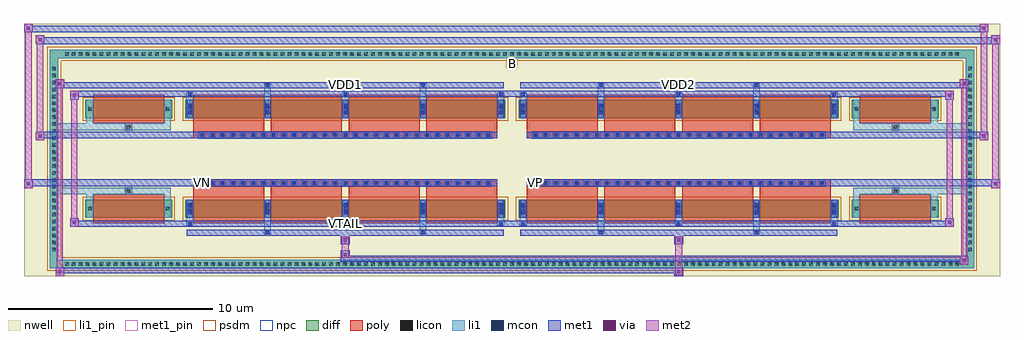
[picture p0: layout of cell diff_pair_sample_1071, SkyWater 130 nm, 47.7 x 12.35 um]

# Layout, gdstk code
import gdstk
lib = gdstk.Library(unit=1e-6, precision=5e-09)
def R(c, l, rs):  # rectangles x0, y0, x1, y1
    for r in rs: c.add(gdstk.rectangle(r[:2], r[2:], *l))
def A(c, l, x, y, w, h, nx, ny, dx, dy):  # array of equal rectangles
    R(c, l, [(x+i*dx, y+j*dy, x+i*dx+w, y+j*dy+h) for i in range(nx) for j in range(ny)])
def P(c, l, *ps):  # polygons
    for p in ps: c.add(gdstk.Polygon(p, *l))
nwell = (64, 20)
diff = (65, 20)
poly = (66, 20)
licon = (66, 44)
li1_pin = (67, 16)
li1 = (67, 20)
mcon = (67, 44)
met1_pin = (68, 16)
met1 = (68, 20)
via = (68, 44)
met2 = (69, 20)
psdm = (94, 20)
npc = (95, 20)

diff_pair_sample_1071 = lib.new_cell('diff_pair_sample_1071')
R(diff_pair_sample_1071, nwell, [(-23.85,-5.74,23.85,6.61), (-21.17,-3.93,-0.01,-0.805), (0.01,-3.93,21.17,-0.805), (-21.17,0.805,-0.01,3.93), (0.01,0.805,21.17,3.93)])
A(diff_pair_sample_1071, diff, -21.965, -5.34, 0.41, 0.41, 129, 2, 0.34, 10.27)
A(diff_pair_sample_1071, diff, -22.58, -4.625, 0.41, 0.41, 1, 27, 0, 0.34)
A(diff_pair_sample_1071, diff, 22.17, -4.625, 0.41, 0.41, 1, 27, 0, 0.34)
R(diff_pair_sample_1071, diff, [(-21.965,-5.34,21.965,-4.93), (-22.58,-4.625,-22.17,4.625), (22.17,-4.625,22.58,4.625), (-20.86,-2.885,-16.61,-1.985), (-15.97,-2.885,-0.32,-1.985), (0.32,-2.885,15.97,-1.985), (16.61,-2.885,20.86,-1.985), (-20.86,1.985,-16.61,2.885), (-15.97,1.985,-0.32,2.885), (0.32,1.985,15.97,2.885), (16.61,1.985,20.86,2.885), (-21.965,4.93,21.965,5.34)])
P(diff_pair_sample_1071, diff, [(22.58,5.34),(-22.58,5.34),(-22.58,-4.93),(-22.17,-4.93),(-22.17,4.93),(22.17,4.93),(22.17,-4.93),(-22.17,-4.93),(-22.58,-4.93),(-22.58,-5.34),(22.58,-5.34)])
A(diff_pair_sample_1071, poly, -15.58, -3.135, 3.47, 1.4, 4, 2, 3.8, 4.87)
A(diff_pair_sample_1071, poly, 0.71, -3.135, 3.47, 1.4, 4, 2, 3.8, 4.87)
A(diff_pair_sample_1071, poly, -15.58, -1.735, 3.47, 0.4, 4, 2, 3.8, 3.07)
A(diff_pair_sample_1071, poly, 0.71, -1.735, 3.47, 0.4, 4, 2, 3.8, 3.07)
A(diff_pair_sample_1071, poly, -15.31, -1.335, 0.33, 0.33, 29, 2, 0.5, 2.34)
A(diff_pair_sample_1071, poly, 0.98, -1.335, 0.33, 0.33, 29, 2, 0.5, 2.34)
R(diff_pair_sample_1071, poly, [(-20.47,-3.135,-17,-1.735), (17,-3.135,20.47,-1.735), (-18.9,-1.735,-18.57,-1.405), (-18.9,-1.735,-18.57,-1.405), (18.57,-1.735,18.9,-1.405), (18.57,-1.735,18.9,-1.405), (-15.58,-1.335,-0.71,-1.005), (0.71,-1.335,15.58,-1.005), (-15.58,1.005,-0.71,1.335), (0.71,1.005,15.58,1.335), (-18.9,1.405,-18.57,1.735), (-18.9,1.405,-18.57,1.735), (18.57,1.405,18.9,1.735), (18.57,1.405,18.9,1.735), (-20.47,1.735,-17,3.135), (17,1.735,20.47,3.135)])
A(diff_pair_sample_1071, licon, -21.845, -5.22, 0.17, 0.17, 129, 2, 0.34, 10.27)
A(diff_pair_sample_1071, licon, -22.46, -4.505, 0.17, 0.17, 1, 27, 0, 0.34)
A(diff_pair_sample_1071, licon, 22.29, -4.505, 0.17, 0.17, 1, 27, 0, 0.34)
A(diff_pair_sample_1071, licon, -15.83, -2.52, 0.17, 0.17, 5, 2, 3.8, 4.87)
A(diff_pair_sample_1071, licon, 0.46, -2.52, 0.17, 0.17, 5, 2, 3.8, 4.87)
A(diff_pair_sample_1071, licon, -15.23, -1.255, 0.17, 0.17, 29, 2, 0.5, 2.34)
A(diff_pair_sample_1071, licon, 1.06, -1.255, 0.17, 0.17, 29, 2, 0.5, 2.34)
R(diff_pair_sample_1071, licon, [(-20.72,-2.52,-20.55,-2.35), (-16.92,-2.52,-16.75,-2.35), (16.75,-2.52,16.92,-2.35), (20.55,-2.52,20.72,-2.35), (-18.82,-1.655,-18.65,-1.485), (18.65,-1.655,18.82,-1.485), (-18.82,1.485,-18.65,1.655), (18.65,1.485,18.82,1.655), (-20.72,2.35,-20.55,2.52), (-16.92,2.35,-16.75,2.52), (16.75,2.35,16.92,2.52), (20.55,2.35,20.72,2.52)])
R(diff_pair_sample_1071, li1_pin, [(-0.25,4.43,0.25,4.93)])
A(diff_pair_sample_1071, li1, -21.925, -5.3, 0.33, 0.33, 129, 2, 0.34, 10.27)
A(diff_pair_sample_1071, li1, -22.54, -4.585, 0.33, 0.33, 1, 27, 0, 0.34)
A(diff_pair_sample_1071, li1, 22.21, -4.585, 0.33, 0.33, 1, 27, 0, 0.34)
A(diff_pair_sample_1071, li1, -15.91, -3.26, 0.33, 0.375, 3, 2, 7.6, 6.145)
A(diff_pair_sample_1071, li1, -15.83, -3.26, 0.17, 0.17, 3, 2, 7.6, 6.35)
A(diff_pair_sample_1071, li1, 0.38, -3.26, 0.33, 0.375, 3, 2, 7.6, 6.145)
A(diff_pair_sample_1071, li1, 0.46, -3.26, 0.17, 0.17, 3, 2, 7.6, 6.35)
A(diff_pair_sample_1071, li1, -15.91, -2.885, 0.33, 0.9, 5, 2, 3.8, 4.87)
A(diff_pair_sample_1071, li1, 0.38, -2.885, 0.33, 0.9, 5, 2, 3.8, 4.87)
A(diff_pair_sample_1071, li1, -15.83, -2.7, 0.17, 0.17, 5, 2, 3.8, 0.36)
A(diff_pair_sample_1071, li1, -15.83, -2.7, 0.17, 0.53, 5, 2, 3.8, 4.87)
A(diff_pair_sample_1071, li1, 0.46, -2.7, 0.17, 0.17, 5, 2, 3.8, 0.36)
A(diff_pair_sample_1071, li1, 0.46, -2.7, 0.17, 0.53, 5, 2, 3.8, 4.87)
A(diff_pair_sample_1071, li1, -15.91, -2.6, 0.33, 0.33, 5, 2, 3.8, 4.87)
A(diff_pair_sample_1071, li1, 0.38, -2.6, 0.33, 0.33, 5, 2, 3.8, 4.87)
A(diff_pair_sample_1071, li1, -15.31, -1.335, 0.33, 0.33, 29, 2, 0.5, 2.34)
A(diff_pair_sample_1071, li1, 0.98, -1.335, 0.33, 0.33, 29, 2, 0.5, 2.34)
A(diff_pair_sample_1071, li1, -15.83, 2.17, 0.17, 0.17, 5, 2, 3.8, 0.36)
A(diff_pair_sample_1071, li1, 0.46, 2.17, 0.17, 0.17, 5, 2, 3.8, 0.36)
R(diff_pair_sample_1071, li1, [(-22.58,-5.34,-22.17,-4.93), (-22.58,-5.34,-22.17,-4.93), (-22.17,-5.34,22.17,-4.93), (22.17,-5.34,22.58,-4.93), (22.17,-5.34,22.58,-4.93), (-22.58,-4.93,-22.17,4.93), (22.17,-4.93,22.58,4.93), (-12.11,-3.69,-11.78,-2.885), (-12.03,-3.69,-11.86,-3.52), (-4.51,-3.69,-4.18,-2.885), (-4.43,-3.69,-4.26,-3.52), (4.18,-3.69,4.51,-2.885), (4.26,-3.69,4.43,-3.52), (11.78,-3.69,12.11,-2.885), (11.86,-3.69,12.03,-3.52), (-20.8,-2.885,-20.47,-1.985), (-17,-2.885,-16.67,-1.985), (16.67,-2.885,17,-1.985), (20.47,-2.885,20.8,-1.985), (-20.8,-2.6,-20.47,-2.27), (-17,-2.6,-16.67,-2.27), (16.67,-2.6,17,-2.27), (20.47,-2.6,20.8,-2.27), (-20.8,-1.985,-20.47,-1.405), (-17,-1.985,-16.67,-1.405), (16.67,-1.985,17,-1.405), (20.47,-1.985,20.8,-1.405), (-22.58,-1.735,-18.9,-1.405), (-20.8,-1.735,-18.9,-1.405), (-18.9,-1.735,-18.57,-1.405), (-18.57,-1.735,-16.67,-1.405), (16.67,-1.735,18.57,-1.405), (18.57,-1.735,18.9,-1.405), (18.57,-1.735,22.58,-1.405), (18.9,-1.735,20.8,-1.405), (-22.58,1.405,-18.9,1.735), (-20.8,1.405,-18.9,1.735), (-20.8,1.405,-20.47,1.985), (-18.9,1.405,-18.57,1.735), (-18.57,1.405,-16.67,1.735), (-17,1.405,-16.67,1.985), (16.67,1.405,18.57,1.735), (16.67,1.405,17,1.985), (18.57,1.405,18.9,1.735), (18.57,1.405,22.58,1.735), (18.9,1.405,20.8,1.735), (20.47,1.405,20.8,1.985), (-20.8,1.985,-20.47,2.885), (-17,1.985,-16.67,2.885), (16.67,1.985,17,2.885), (20.47,1.985,20.8,2.885), (-20.8,2.27,-20.47,2.6), (-17,2.27,-16.67,2.6), (16.67,2.27,17,2.6), (20.47,2.27,20.8,2.6), (-12.11,2.885,-11.78,3.69), (-4.51,2.885,-4.18,3.69), (4.18,2.885,4.51,3.69), (11.78,2.885,12.11,3.69), (-12.03,3.52,-11.86,3.69), (-4.43,3.52,-4.26,3.69), (4.26,3.52,4.43,3.69), (11.86,3.52,12.03,3.69), (-22.58,4.93,-22.17,5.34), (-22.58,4.93,-22.17,5.34), (-22.17,4.93,22.17,5.34), (22.17,4.93,22.58,5.34), (22.17,4.93,22.58,5.34)])
A(diff_pair_sample_1071, mcon, -15.83, -3.26, 0.17, 0.17, 3, 2, 7.6, 6.35)
A(diff_pair_sample_1071, mcon, 0.46, -3.26, 0.17, 0.17, 3, 2, 7.6, 6.35)
A(diff_pair_sample_1071, mcon, -15.83, -2.7, 0.17, 0.17, 5, 2, 3.8, 0.36)
A(diff_pair_sample_1071, mcon, 0.46, -2.7, 0.17, 0.17, 5, 2, 3.8, 0.36)
A(diff_pair_sample_1071, mcon, -15.23, -1.255, 0.17, 0.17, 29, 2, 0.5, 2.34)
A(diff_pair_sample_1071, mcon, 1.06, -1.255, 0.17, 0.17, 29, 2, 0.5, 2.34)
A(diff_pair_sample_1071, mcon, -15.83, 2.17, 0.17, 0.17, 5, 2, 3.8, 0.36)
A(diff_pair_sample_1071, mcon, 0.46, 2.17, 0.17, 0.17, 5, 2, 3.8, 0.36)
R(diff_pair_sample_1071, mcon, [(-12.03,-3.69,-11.86,-3.52), (-4.43,-3.69,-4.26,-3.52), (4.26,-3.69,4.43,-3.52), (11.86,-3.69,12.03,-3.52), (-12.03,3.52,-11.86,3.69), (-4.43,3.52,-4.26,3.69), (4.26,3.52,4.43,3.69), (11.86,3.52,12.03,3.69)])
R(diff_pair_sample_1071, met1_pin, [(-8.28,-3.3,-8.01,-3.03), (-15.28,-1.295,-15.01,-1.025), (1.01,-1.295,1.28,-1.025), (-8.28,3.48,-8.01,3.75), (8.01,3.48,8.28,3.75)])
A(diff_pair_sample_1071, met1, -15.89, -3.32, 0.29, 0.29, 3, 2, 7.6, 6.35)
A(diff_pair_sample_1071, met1, 0.4, -3.32, 0.29, 0.29, 3, 2, 7.6, 6.35)
A(diff_pair_sample_1071, met1, -15.89, -2.885, 0.29, 0.9, 5, 2, 3.8, 4.87)
A(diff_pair_sample_1071, met1, 0.4, -2.885, 0.29, 0.9, 5, 2, 3.8, 4.87)
A(diff_pair_sample_1071, met1, -15.89, -2.76, 0.29, 0.29, 5, 2, 3.8, 0.36)
A(diff_pair_sample_1071, met1, 0.4, -2.76, 0.29, 0.29, 5, 2, 3.8, 0.36)
A(diff_pair_sample_1071, met1, -15.29, -1.315, 0.29, 0.29, 29, 2, 0.5, 2.34)
A(diff_pair_sample_1071, met1, 1, -1.315, 0.29, 0.29, 29, 2, 0.5, 2.34)
A(diff_pair_sample_1071, met1, -15.89, 2.11, 0.29, 0.29, 5, 2, 3.8, 0.36)
A(diff_pair_sample_1071, met1, 0.4, 2.11, 0.29, 0.29, 5, 2, 3.8, 0.36)
R(diff_pair_sample_1071, met1, [(-22.31,-5.74,-21.88,-5.31), (7.93,-5.74,8.36,-5.31), (-22.31,-5.6,8.36,-5.31), (21.88,-5.17,22.31,-4.74), (-8.36,-5.03,22.31,-4.74), (-8.36,-4.89,-7.93,-4.46), (-8.36,-4.18,-7.93,-3.75), (7.93,-4.18,8.36,-3.75), (-15.89,-3.75,-0.4,-3.46), (-12.09,-3.75,-11.8,-3.46), (-4.49,-3.75,-4.2,-3.46), (0.4,-3.75,15.89,-3.46), (4.2,-3.75,4.49,-3.46), (11.8,-3.75,12.09,-3.46), (-21.6,-3.32,-21.17,-2.89), (-21.6,-3.32,-15.89,-3.03), (-15.89,-3.32,-0.4,-3.03), (-0.4,-3.32,0.4,-3.03), (0.4,-3.32,15.89,-3.03), (15.89,-3.32,21.6,-3.03), (21.17,-3.32,21.6,-2.89), (-23.85,-1.435,-23.42,-1.005), (23.42,-1.435,23.85,-1.005), (-23.85,-1.335,-0.71,-1.005), (-15.58,-1.335,-0.71,-1.005), (0.71,-1.335,15.58,-1.005), (0.71,-1.335,23.85,-1.005), (-23.28,0.905,-22.85,1.335), (22.85,0.905,23.28,1.335), (-23.28,1.005,-15.58,1.335), (-15.58,1.005,-0.71,1.335), (0.71,1.005,15.58,1.335), (15.58,1.005,23.28,1.335), (-21.6,2.89,-21.17,3.32), (21.17,2.89,21.6,3.32), (-21.6,3.03,-15.89,3.32), (-15.89,3.03,-0.4,3.32), (-0.4,3.03,0.4,3.32), (0.4,3.03,15.89,3.32), (15.89,3.03,21.6,3.32), (-22.31,3.46,-21.88,3.89), (-22.31,3.46,-15.89,3.75), (-15.89,3.46,-0.4,3.75), (-12.09,3.46,-11.8,3.75), (-4.49,3.46,-4.2,3.75), (0.4,3.46,15.89,3.75), (4.2,3.46,4.49,3.75), (11.8,3.46,12.09,3.75), (15.89,3.46,22.31,3.75), (21.88,3.46,22.31,3.89), (-23.28,5.61,-22.85,6.04), (-23.28,5.61,-21.17,5.94), (-21.17,5.61,21.17,5.94), (21.17,5.61,23.85,5.94), (23.42,5.61,23.85,6.04), (-23.85,6.18,-23.42,6.61), (-23.85,6.18,-21.17,6.51), (-21.17,6.18,21.17,6.51), (21.17,6.18,23.28,6.51), (22.85,6.18,23.28,6.61)])
R(diff_pair_sample_1071, via, [(-22.17,-5.6,-22.02,-5.45), (8.07,-5.6,8.22,-5.45), (22.02,-5.03,22.17,-4.88), (-8.22,-4.75,-8.07,-4.6), (-8.22,-4.04,-8.07,-3.89), (8.07,-4.04,8.22,-3.89), (-21.46,-3.18,-21.31,-3.03), (21.31,-3.18,21.46,-3.03), (-23.71,-1.295,-23.56,-1.145), (23.56,-1.295,23.71,-1.145), (-23.14,1.045,-22.99,1.195), (22.99,1.045,23.14,1.195), (-21.46,3.03,-21.31,3.18), (21.31,3.03,21.46,3.18), (-22.17,3.6,-22.02,3.75), (22.02,3.6,22.17,3.75), (-23.14,5.75,-22.99,5.9), (23.56,5.75,23.71,5.9), (-23.71,6.32,-23.56,6.47), (22.99,6.32,23.14,6.47)])
R(diff_pair_sample_1071, met2, [(-22.31,-5.74,-21.88,-5.31), (-22.24,-5.74,-21.95,3.89), (-21.95,-5.74,-21.88,-5.31), (-22.26,-5.69,-21.93,-5.36), (7.98,-5.69,8.31,-5.36), (7.98,-5.36,8.31,-4.13), (21.88,-5.17,22.31,-4.74), (21.95,-5.17,22.24,3.89), (22.24,-5.17,22.31,-4.74), (21.93,-5.12,22.26,-4.79), (-8.31,-4.84,-7.98,-4.51), (-8.31,-4.51,-7.98,-4.13), (-8.31,-4.13,-7.98,-3.8), (7.98,-4.13,8.31,-3.8), (-21.6,-3.32,-21.17,-2.89), (-21.53,-3.32,-21.24,3.32), (-21.24,-3.32,-21.17,-2.89), (21.17,-3.32,21.6,-2.89), (21.24,-3.32,21.53,3.32), (21.53,-3.32,21.6,-2.89), (-21.55,-3.27,-21.22,-2.94), (21.22,-3.27,21.55,-2.94), (-23.85,-1.435,-23.42,-1.005), (-23.8,-1.435,-23.47,6.61), (-23.47,-1.435,-23.42,-1.005), (23.42,-1.435,23.85,-1.005), (23.47,-1.435,23.8,6.04), (23.8,-1.435,23.85,-1.005), (-23.8,-1.385,-23.47,-1.055), (23.47,-1.385,23.8,-1.055), (-23.28,0.905,-22.85,1.335), (-23.23,0.905,-22.9,6.04), (-22.9,0.905,-22.85,1.335), (22.85,0.905,23.28,1.335), (22.9,0.905,23.23,6.61), (23.23,0.905,23.28,1.335), (-23.23,0.955,-22.9,1.285), (22.9,0.955,23.23,1.285), (-21.6,2.89,-21.17,3.32), (-21.24,2.89,-21.17,3.32), (21.17,2.89,21.6,3.32), (21.53,2.89,21.6,3.32), (-21.55,2.94,-21.22,3.27), (21.22,2.94,21.55,3.27), (-22.31,3.46,-21.88,3.89), (-21.95,3.46,-21.88,3.89), (21.88,3.46,22.31,3.89), (22.24,3.46,22.31,3.89), (-22.26,3.51,-21.93,3.84), (21.93,3.51,22.26,3.84), (-23.28,5.61,-22.85,6.04), (-22.9,5.61,-22.85,6.04), (23.42,5.61,23.85,6.04), (23.8,5.61,23.85,6.04), (-23.23,5.66,-22.9,5.99), (23.47,5.66,23.8,5.99), (-23.85,6.18,-23.42,6.61), (-23.47,6.18,-23.42,6.61), (22.85,6.18,23.28,6.61), (23.23,6.18,23.28,6.61), (-23.8,6.23,-23.47,6.56), (22.9,6.23,23.23,6.56)])
R(diff_pair_sample_1071, psdm, [(-20.99,-3.015,-16.48,-1.855), (-16.1,-3.015,-0.19,-1.855), (0.19,-3.015,16.1,-1.855), (16.48,-3.015,20.99,-1.855), (-20.99,1.855,-16.48,3.015), (-16.1,1.855,-0.19,3.015), (0.19,1.855,16.1,3.015), (16.48,1.855,20.99,3.015)])
P(diff_pair_sample_1071, psdm, [(22.71,5.47),(-22.71,5.47),(-22.71,-4.8),(-22.04,-4.8),(-22.04,4.8),(22.04,4.8),(22.04,-4.8),(-22.04,-4.8),(-22.71,-4.8),(-22.71,-5.47),(22.71,-5.47)])
A(diff_pair_sample_1071, npc, -15.33, -1.355, 0.37, 0.37, 29, 2, 0.5, 2.34)
A(diff_pair_sample_1071, npc, 0.96, -1.355, 0.37, 0.37, 29, 2, 0.5, 2.34)
R(diff_pair_sample_1071, npc, [(-18.92,-1.755,-18.55,-1.385), (18.55,-1.755,18.92,-1.385), (-15.33,-1.355,-14.46,-0.985), (-15.33,-1.355,-14.46,-0.985), (-14.83,-1.355,-13.96,-0.985), (-14.83,-1.355,-13.96,-0.985), (-14.33,-1.355,-13.46,-0.985), (-14.33,-1.355,-13.46,-0.985), (-13.83,-1.355,-12.96,-0.985), (-13.83,-1.355,-12.96,-0.985), (-13.33,-1.355,-12.46,-0.985), (-13.33,-1.355,-12.46,-0.985), (-12.83,-1.355,-11.96,-0.985), (-12.83,-1.355,-11.96,-0.985), (-12.33,-1.355,-11.46,-0.985), (-12.33,-1.355,-11.46,-0.985), (-11.83,-1.355,-10.96,-0.985), (-11.83,-1.355,-10.96,-0.985), (-11.33,-1.355,-10.46,-0.985), (-11.33,-1.355,-10.46,-0.985), (-10.83,-1.355,-9.96,-0.985), (-10.83,-1.355,-9.96,-0.985), (-10.33,-1.355,-9.46,-0.985), (-10.33,-1.355,-9.46,-0.985), (-9.83,-1.355,-8.96,-0.985), (-9.83,-1.355,-8.96,-0.985), (-9.33,-1.355,-8.46,-0.985), (-9.33,-1.355,-8.46,-0.985), (-8.83,-1.355,-7.96,-0.985), (-8.83,-1.355,-7.96,-0.985), (-8.33,-1.355,-7.46,-0.985), (-8.33,-1.355,-7.46,-0.985), (-7.83,-1.355,-6.96,-0.985), (-7.83,-1.355,-6.96,-0.985), (-7.33,-1.355,-6.46,-0.985), (-7.33,-1.355,-6.46,-0.985), (-6.83,-1.355,-5.96,-0.985), (-6.83,-1.355,-5.96,-0.985), (-6.33,-1.355,-5.46,-0.985), (-6.33,-1.355,-5.46,-0.985), (-5.83,-1.355,-4.96,-0.985), (-5.83,-1.355,-4.96,-0.985), (-5.33,-1.355,-4.46,-0.985), (-5.33,-1.355,-4.46,-0.985), (-4.83,-1.355,-3.96,-0.985), (-4.83,-1.355,-3.96,-0.985), (-4.33,-1.355,-3.46,-0.985), (-4.33,-1.355,-3.46,-0.985), (-3.83,-1.355,-2.96,-0.985), (-3.83,-1.355,-2.96,-0.985), (-3.33,-1.355,-2.46,-0.985), (-3.33,-1.355,-2.46,-0.985), (-2.83,-1.355,-1.96,-0.985), (-2.83,-1.355,-1.96,-0.985), (-2.33,-1.355,-1.46,-0.985), (-2.33,-1.355,-1.46,-0.985), (-1.83,-1.355,-0.96,-0.985), (-1.83,-1.355,-0.96,-0.985), (0.96,-1.355,1.83,-0.985), (0.96,-1.355,1.83,-0.985), (1.46,-1.355,2.33,-0.985), (1.46,-1.355,2.33,-0.985), (1.96,-1.355,2.83,-0.985), (1.96,-1.355,2.83,-0.985), (2.46,-1.355,3.33,-0.985), (2.46,-1.355,3.33,-0.985), (2.96,-1.355,3.83,-0.985), (2.96,-1.355,3.83,-0.985), (3.46,-1.355,4.33,-0.985), (3.46,-1.355,4.33,-0.985), (3.96,-1.355,4.83,-0.985), (3.96,-1.355,4.83,-0.985), (4.46,-1.355,5.33,-0.985), (4.46,-1.355,5.33,-0.985), (4.96,-1.355,5.83,-0.985), (4.96,-1.355,5.83,-0.985), (5.46,-1.355,6.33,-0.985), (5.46,-1.355,6.33,-0.985), (5.96,-1.355,6.83,-0.985), (5.96,-1.355,6.83,-0.985), (6.46,-1.355,7.33,-0.985), (6.46,-1.355,7.33,-0.985), (6.96,-1.355,7.83,-0.985), (6.96,-1.355,7.83,-0.985), (7.46,-1.355,8.33,-0.985), (7.46,-1.355,8.33,-0.985), (7.96,-1.355,8.83,-0.985), (7.96,-1.355,8.83,-0.985), (8.46,-1.355,9.33,-0.985), (8.46,-1.355,9.33,-0.985), (8.96,-1.355,9.83,-0.985), (8.96,-1.355,9.83,-0.985), (9.46,-1.355,10.33,-0.985), (9.46,-1.355,10.33,-0.985), (9.96,-1.355,10.83,-0.985), (9.96,-1.355,10.83,-0.985), (10.46,-1.355,11.33,-0.985), (10.46,-1.355,11.33,-0.985), (10.96,-1.355,11.83,-0.985), (10.96,-1.355,11.83,-0.985), (11.46,-1.355,12.33,-0.985), (11.46,-1.355,12.33,-0.985), (11.96,-1.355,12.83,-0.985), (11.96,-1.355,12.83,-0.985), (12.46,-1.355,13.33,-0.985), (12.46,-1.355,13.33,-0.985), (12.96,-1.355,13.83,-0.985), (12.96,-1.355,13.83,-0.985), (13.46,-1.355,14.33,-0.985), (13.46,-1.355,14.33,-0.985), (13.96,-1.355,14.83,-0.985), (13.96,-1.355,14.83,-0.985), (14.46,-1.355,15.33,-0.985), (14.46,-1.355,15.33,-0.985), (-15.33,0.985,-14.46,1.355), (-15.33,0.985,-14.46,1.355), (-14.83,0.985,-13.96,1.355), (-14.83,0.985,-13.96,1.355), (-14.33,0.985,-13.46,1.355), (-14.33,0.985,-13.46,1.355), (-13.83,0.985,-12.96,1.355), (-13.83,0.985,-12.96,1.355), (-13.33,0.985,-12.46,1.355), (-13.33,0.985,-12.46,1.355), (-12.83,0.985,-11.96,1.355), (-12.83,0.985,-11.96,1.355), (-12.33,0.985,-11.46,1.355), (-12.33,0.985,-11.46,1.355), (-11.83,0.985,-10.96,1.355), (-11.83,0.985,-10.96,1.355), (-11.33,0.985,-10.46,1.355), (-11.33,0.985,-10.46,1.355), (-10.83,0.985,-9.96,1.355), (-10.83,0.985,-9.96,1.355), (-10.33,0.985,-9.46,1.355), (-10.33,0.985,-9.46,1.355), (-9.83,0.985,-8.96,1.355), (-9.83,0.985,-8.96,1.355), (-9.33,0.985,-8.46,1.355), (-9.33,0.985,-8.46,1.355), (-8.83,0.985,-7.96,1.355), (-8.83,0.985,-7.96,1.355), (-8.33,0.985,-7.46,1.355), (-8.33,0.985,-7.46,1.355), (-7.83,0.985,-6.96,1.355), (-7.83,0.985,-6.96,1.355), (-7.33,0.985,-6.46,1.355), (-7.33,0.985,-6.46,1.355), (-6.83,0.985,-5.96,1.355), (-6.83,0.985,-5.96,1.355), (-6.33,0.985,-5.46,1.355), (-6.33,0.985,-5.46,1.355), (-5.83,0.985,-4.96,1.355), (-5.83,0.985,-4.96,1.355), (-5.33,0.985,-4.46,1.355), (-5.33,0.985,-4.46,1.355), (-4.83,0.985,-3.96,1.355), (-4.83,0.985,-3.96,1.355), (-4.33,0.985,-3.46,1.355), (-4.33,0.985,-3.46,1.355), (-3.83,0.985,-2.96,1.355), (-3.83,0.985,-2.96,1.355), (-3.33,0.985,-2.46,1.355), (-3.33,0.985,-2.46,1.355), (-2.83,0.985,-1.96,1.355), (-2.83,0.985,-1.96,1.355), (-2.33,0.985,-1.46,1.355), (-2.33,0.985,-1.46,1.355), (-1.83,0.985,-0.96,1.355), (-1.83,0.985,-0.96,1.355), (0.96,0.985,1.83,1.355), (0.96,0.985,1.83,1.355), (1.46,0.985,2.33,1.355), (1.46,0.985,2.33,1.355), (1.96,0.985,2.83,1.355), (1.96,0.985,2.83,1.355), (2.46,0.985,3.33,1.355), (2.46,0.985,3.33,1.355), (2.96,0.985,3.83,1.355), (2.96,0.985,3.83,1.355), (3.46,0.985,4.33,1.355), (3.46,0.985,4.33,1.355), (3.96,0.985,4.83,1.355), (3.96,0.985,4.83,1.355), (4.46,0.985,5.33,1.355), (4.46,0.985,5.33,1.355), (4.96,0.985,5.83,1.355), (4.96,0.985,5.83,1.355), (5.46,0.985,6.33,1.355), (5.46,0.985,6.33,1.355), (5.96,0.985,6.83,1.355), (5.96,0.985,6.83,1.355), (6.46,0.985,7.33,1.355), (6.46,0.985,7.33,1.355), (6.96,0.985,7.83,1.355), (6.96,0.985,7.83,1.355), (7.46,0.985,8.33,1.355), (7.46,0.985,8.33,1.355), (7.96,0.985,8.83,1.355), (7.96,0.985,8.83,1.355), (8.46,0.985,9.33,1.355), (8.46,0.985,9.33,1.355), (8.96,0.985,9.83,1.355), (8.96,0.985,9.83,1.355), (9.46,0.985,10.33,1.355), (9.46,0.985,10.33,1.355), (9.96,0.985,10.83,1.355), (9.96,0.985,10.83,1.355), (10.46,0.985,11.33,1.355), (10.46,0.985,11.33,1.355), (10.96,0.985,11.83,1.355), (10.96,0.985,11.83,1.355), (11.46,0.985,12.33,1.355), (11.46,0.985,12.33,1.355), (11.96,0.985,12.83,1.355), (11.96,0.985,12.83,1.355), (12.46,0.985,13.33,1.355), (12.46,0.985,13.33,1.355), (12.96,0.985,13.83,1.355), (12.96,0.985,13.83,1.355), (13.46,0.985,14.33,1.355), (13.46,0.985,14.33,1.355), (13.96,0.985,14.83,1.355), (13.96,0.985,14.83,1.355), (14.46,0.985,15.33,1.355), (14.46,0.985,15.33,1.355), (-18.92,1.385,-18.55,1.755), (18.55,1.385,18.92,1.755)])
diff_pair_sample_1071.add(gdstk.Label('VTAIL', (-8.145,-3.165), layer=68, texttype=5))
diff_pair_sample_1071.add(gdstk.Label('VN', (-15.145,-1.16), layer=68, texttype=5))
diff_pair_sample_1071.add(gdstk.Label('VP', (1.145,-1.16), layer=68, texttype=5))
diff_pair_sample_1071.add(gdstk.Label('B', (0,4.68), layer=67, texttype=5))
diff_pair_sample_1071.add(gdstk.Label('VDD2', (8.145,3.615), layer=68, texttype=5))
diff_pair_sample_1071.add(gdstk.Label('VDD1', (-8.145,3.615), layer=68, texttype=5))

lib.write_gds('diff_pair_sample_1071.gds')
